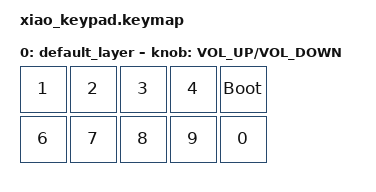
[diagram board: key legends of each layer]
#include <behaviors.dtsi>
#include <dt-bindings/zmk/keys.h>
#include <dt-bindings/zmk/bt.h>
#include <dt-bindings/zmk/outputs.h>

/ {
    keymap {
        compatible = "zmk,keymap";

        default_layer {
            bindings = <
                &kp N1  &kp N2  &kp N3  &kp N4  &bootloader
                &kp N6  &kp N7  &kp N8  &kp N9  &kp N0
            >;
            
            sensor-bindings = <&inc_dec_kp C_VOLUME_UP C_VOLUME_DOWN>;
        };
    };
};
